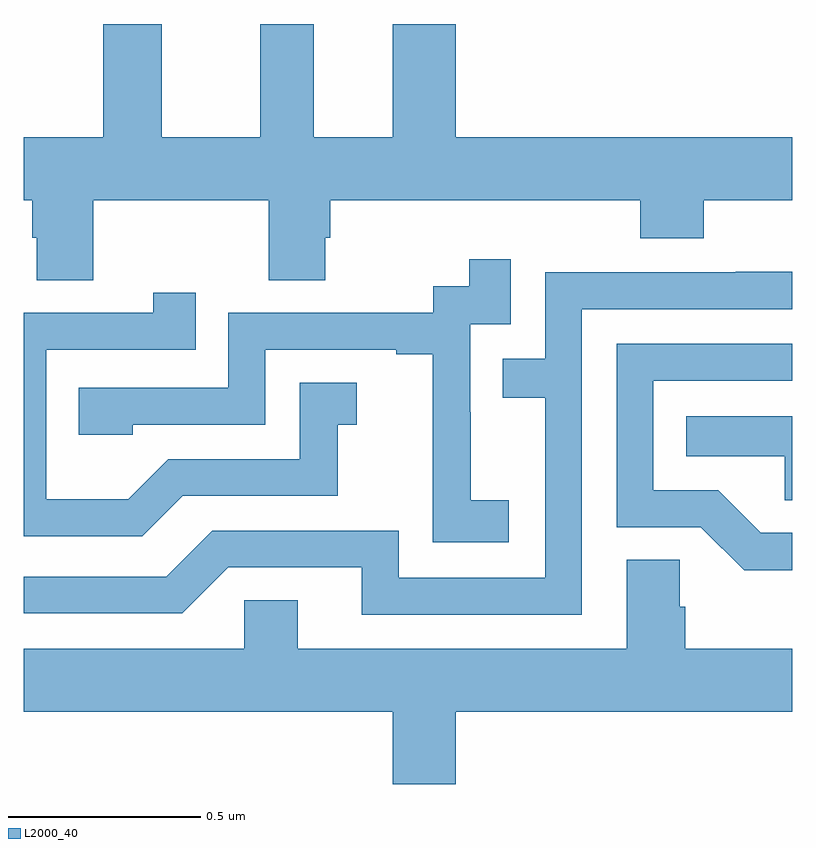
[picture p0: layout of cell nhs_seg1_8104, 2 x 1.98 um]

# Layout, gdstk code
import gdstk
lib = gdstk.Library(unit=1e-6, precision=1e-09)
def P(c, l, *ps):  # polygons
    for p in ps: c.add(gdstk.Polygon(p, *l))
L2000_40 = (2000, 40)

nhs_seg1_8104 = lib.new_cell('nhs_seg1_8104')
P(nhs_seg1_8104, L2000_40, [(212.181,543.74),(212.638,543.74),(212.638,543.532),(212.785,543.532),(212.785,543.642),(212.798,543.642),(212.798,543.74),(213.605,543.74),(213.605,543.641),(213.77,543.641),(213.77,543.74),(214,543.74),(214,543.904),(213.124,543.904),(213.124,544.199),(212.96,544.199),(212.96,543.904),(212.755,543.904),(212.755,544.199),(212.615,544.199),(212.615,543.904),(212.359,543.904),(212.359,544.199),(212.207,544.199),(212.207,543.904),(212,543.904),(212,543.74),(212.021,543.74),(212.021,543.642),(212.033,543.642),(212.033,543.532),(212.181,543.532)],
  [(213.262,542.959),(213.164,542.959),(213.164,543.188),(213.162,543.188),(213.162,543.417),(213.267,543.417),(213.267,543.586),(213.159,543.586),(213.159,543.516),(213.066,543.516),(213.066,543.447),(212.532,543.447),(212.532,543.252),(212.143,543.252),(212.143,543.129),(212.283,543.129),(212.283,543.156),(212.628,543.156),(212.628,543.351),(212.969,543.351),(212.969,543.339),(213.065,543.339),(213.065,543.055),(213.064,543.055),(213.064,542.849),(213.262,542.849)],
  [(213.453,543.456),(214,543.456),(214,543.554),(213.853,543.554),(213.853,543.552),(213.357,543.552),(213.357,543.327),(213.247,543.327),(213.247,543.226),(213.357,543.226),(213.357,542.757),(212.976,542.757),(212.976,542.88),(212.49,542.88),(212.37,542.76),(212,542.76),(212,542.664),(212.412,542.664),(212.532,542.784),(212.879,542.784),(212.879,542.661),(213.453,542.661)],
  [(212.413,542.97),(212.817,542.97),(212.817,543.155),(212.866,543.155),(212.866,543.265),(212.718,543.265),(212.718,543.066),(212.376,543.066),(212.272,542.962),(212.058,542.962),(212.058,543.351),(212.447,543.351),(212.447,543.499),(212.336,543.499),(212.336,543.447),(212,543.447),(212,542.865),(212.308,542.865)],
  [(214,542.874),(213.919,542.874),(213.808,542.985),(213.639,542.985),(213.639,543.27),(214,543.27),(214,543.366),(213.543,543.366),(213.543,542.889),(213.762,542.889),(213.875,542.777),(214,542.777)],
  [(214,543.178),(213.724,543.178),(213.724,543.074),(213.981,543.074),(213.981,542.959),(214,542.959)],
  [(213.124,542.408),(214,542.408),(214,542.572),(213.722,542.572),(213.722,542.681),(213.708,542.681),(213.708,542.804),(213.569,542.804),(213.569,542.572),(212.713,542.572),(212.713,542.699),(212.574,542.699),(212.574,542.572),(212,542.572),(212,542.408),(212.96,542.408),(212.96,542.22),(213.124,542.22)])

lib.write_gds('nhs_seg1_8104.gds')
